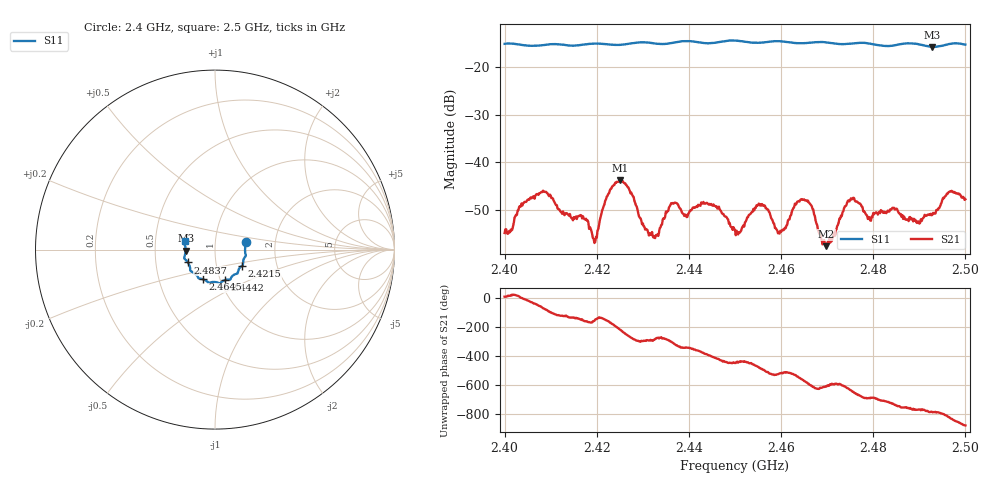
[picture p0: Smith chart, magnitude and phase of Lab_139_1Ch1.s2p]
# Hz S RI R 50
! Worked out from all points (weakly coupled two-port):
!   601 points, 2.4 GHz to 2.5 GHz, reference 50 ohm
!   highest |S21| = -43.85 dB at 2.425 GHz (marker M1); lowest = -57.7 dB at 2.4698 GHz (marker M2)
!   lowest |S11| = -15.7 dB at 2.4928 GHz (marker M3), VSWR 1.39, Z = 36 - j0.381 ohm
!   |S11| at or under -10 dB: start of sweep to end of sweep
!   S12 and S22 are empty: the file has one direction only
!   S11 on the Smith chart (normalised r, x): 2.4 GHz: 1.41, +0.12; 2.4215 GHz: 1.33, -0.25; 2.4442 GHz: 1.05, -0.37; 2.4645 GHz: 0.83, -0.29; 2.4837 GHz: 0.73, -0.11; 2.5 GHz: 0.71, +0.07
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2.4e9  0.1714 0.0403  0.00176 0.000345  0 0  0 0
2.408333e9  0.1691 -0.022  0.00178 -0.00466  0 0  0 0
2.416667e9  0.1568 -0.0698  -0.00239 -0.00134  0 0  0 0
2.4195e9  0.1549 -0.0855  -0.00129 -0.000562  0 0  0 0
2.4215e9  0.1511 -0.0898  -0.00276 -0.00206  0 0  0 0
2.425e9  0.1342 -0.1072  -0.00519 0.00377  0 0  0 0
2.430833e9  0.1237 -0.1336  0.000677 0.00184  0 0  0 0
2.433333e9  0.1084 -0.1384  7.82e-05 0.00166  0 0  0 0
2.4365e9  0.0901 -0.1563  0.00229 0.00291  0 0  0 0
2.444167e9  0.0564 -0.1692  0.00303 -0.00197  0 0  0 0
2.45e9  0.0251 -0.1891  6.78e-05 -0.00193  0 0  0 0
2.4555e9  -0.0124 -0.1805  -0.00204 -0.00295  0 0  0 0
2.459833e9  -0.0352 -0.1841  -0.00176 -0.000665  0 0  0 0
2.4645e9  -0.0659 -0.166  -0.00378 0.00151  0 0  0 0
2.466667e9  -0.0827 -0.162  -0.00132 0.00315  0 0  0 0
2.469833e9  -0.0935 -0.1567  -0.000391 0.00124  0 0  0 0
2.475167e9  -0.1242 -0.1258  0.000592 0.0041  0 0  0 0
2.483333e9  -0.149 -0.075  0.00301 6.52e-05  0 0  0 0
2.483667e9  -0.1511 -0.0717  0.00316 -0.000256  0 0  0 0
2.492833e9  -0.1634 -0.00516  0.000932 -0.00262  0 0  0 0
2.4965e9  -0.1724 0.0326  -0.00123 -0.0047  0 0  0 0
2.5e9  -0.1653 0.0505  -0.00386 -0.00126  0 0  0 0
